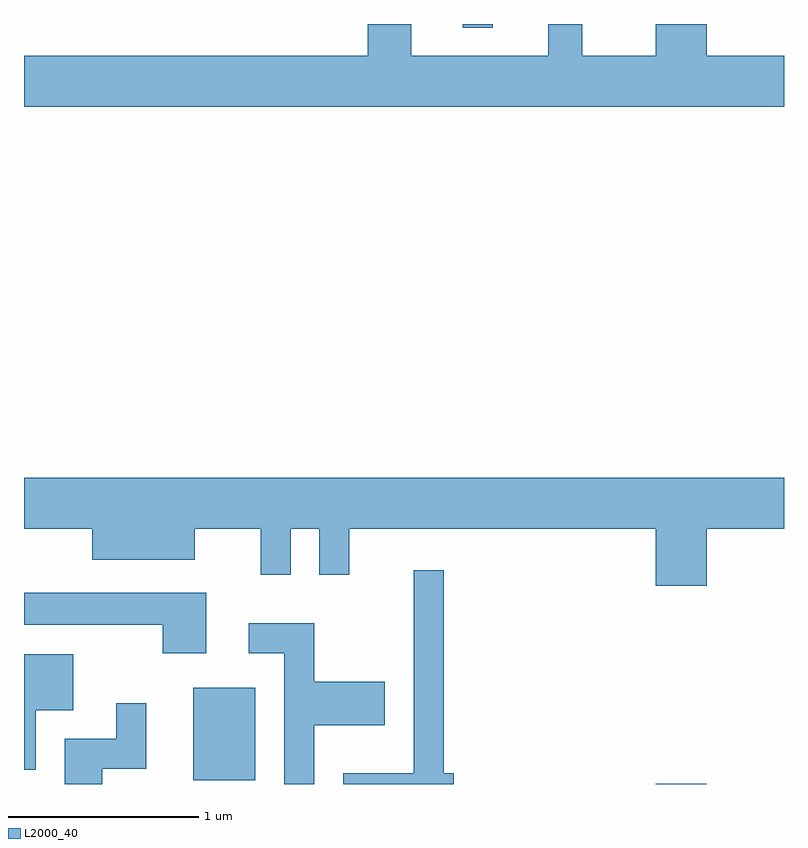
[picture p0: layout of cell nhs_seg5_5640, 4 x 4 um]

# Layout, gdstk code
import gdstk
lib = gdstk.Library(unit=1e-6, precision=1e-09)
def R(c, l, rs):  # rectangles x0, y0, x1, y1
    for r in rs: c.add(gdstk.rectangle(r[:2], r[2:], *l))
def P(c, l, *ps):  # polygons
    for p in ps: c.add(gdstk.Polygon(p, *l))
L2000_40 = (2000, 40)

nhs_seg5_5640 = lib.new_cell('nhs_seg5_5640')
R(nhs_seg5_5640, L2000_40, [(354.936,1502.072,355.204,1502.074), (352.501,1502.091,352.829,1502.579), (353.921,1506.053,354.079,1506.072)])
P(nhs_seg5_5640, L2000_40, [(355.611,1505.904),(355.204,1505.904),(355.204,1506.072),(354.936,1506.072),(354.936,1505.904),(354.549,1505.904),(354.549,1506.072),(354.371,1506.072),(354.371,1505.904),(353.649,1505.904),(353.649,1506.072),(353.421,1506.072),(353.421,1505.904),(351.611,1505.904),(351.611,1505.636),(355.611,1505.636)],
  [(355.204,1503.416),(355.611,1503.416),(355.611,1503.684),(351.611,1503.684),(351.611,1503.416),(351.971,1503.416),(351.971,1503.251),(352.509,1503.251),(352.509,1503.416),(352.856,1503.416),(352.856,1503.173),(353.014,1503.173),(353.014,1503.416),(353.166,1503.416),(353.166,1503.173),(353.324,1503.173),(353.324,1503.416),(354.936,1503.416),(354.936,1503.116),(355.204,1503.116)],
  [(353.874,1502.129),(353.819,1502.129),(353.819,1503.198),(353.661,1503.198),(353.661,1502.129),(353.291,1502.129),(353.291,1502.072),(353.874,1502.072)],
  [(352.569,1503.079),(351.611,1503.079),(351.611,1502.911),(352.341,1502.911),(352.341,1502.761),(352.569,1502.761)],
  [(353.139,1502.381),(353.509,1502.381),(353.509,1502.609),(353.139,1502.609),(353.139,1502.919),(352.793,1502.919),(352.793,1502.761),(352.981,1502.761),(352.981,1502.072),(353.139,1502.072)],
  [(351.674,1502.461),(351.869,1502.461),(351.869,1502.754),(351.611,1502.754),(351.611,1502.146),(351.674,1502.146)],
  [(352.024,1502.151),(352.254,1502.151),(352.254,1502.498),(352.096,1502.498),(352.096,1502.309),(351.826,1502.309),(351.826,1502.072),(352.024,1502.072)])

lib.write_gds('nhs_seg5_5640.gds')
